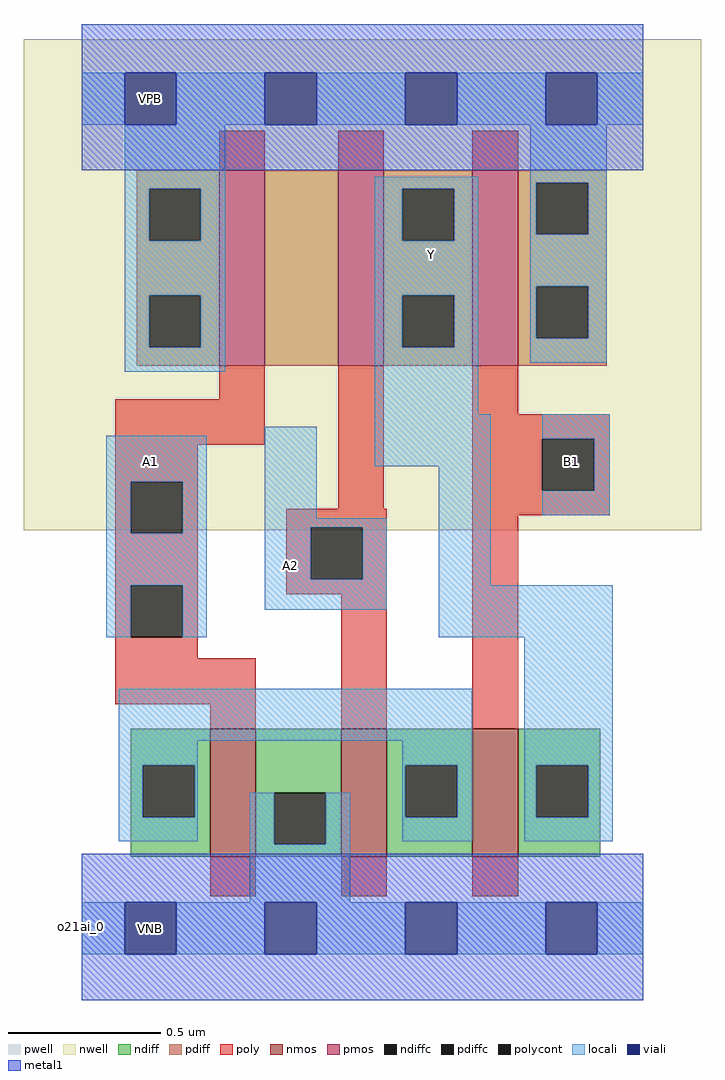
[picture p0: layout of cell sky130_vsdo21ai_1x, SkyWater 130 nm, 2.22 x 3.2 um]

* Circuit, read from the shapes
.subckt sky130_vsdo21ai_1x A1 A2 B1 VGND VNB VPB VPWR Y
XM1 VGND A1 n1 VNB sky130_fd_pr__nfet_01v8 w=0.42 l=0.15
XM2 n1 A2 VGND VNB sky130_fd_pr__nfet_01v8 w=0.42 l=0.15
XM3 Y B1 n1 VNB sky130_fd_pr__nfet_01v8 w=0.42 l=0.15
XM4 n2 A1 VPWR VPB sky130_fd_pr__pfet_01v8 w=0.64 l=0.15
XM5 Y A2 n2 VPB sky130_fd_pr__pfet_01v8 w=0.64 l=0.15
XM6 VPWR B1 Y VPB sky130_fd_pr__pfet_01v8 w=0.64 l=0.15
.ends

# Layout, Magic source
magic
tech sky130A
<< nwell >>
rect -19 130 203 291
<< pwell >>
rect 14 -9 31 8
<< nmos >>
rect 42 23 57 65
rect 85 23 100 65
rect 128 23 143 65
<< pmos >>
rect 45 184 60 248
rect 84 184 99 248
rect 128 184 143 248
<< ndiff >>
rect 16 53 42 65
rect 16 36 20 53
rect 37 36 42 53
rect 16 23 42 36
rect 57 44 85 65
rect 57 27 63 44
rect 80 27 85 44
rect 57 23 85 27
rect 100 53 128 65
rect 100 36 106 53
rect 123 36 128 53
rect 100 23 128 36
rect 143 53 170 65
rect 143 36 149 53
rect 166 36 170 53
rect 143 23 170 36
<< pdiff >>
rect 18 242 45 248
rect 18 225 22 242
rect 39 225 45 242
rect 18 207 45 225
rect 18 190 22 207
rect 39 190 45 207
rect 18 184 45 190
rect 60 184 84 248
rect 99 242 128 248
rect 99 225 105 242
rect 122 225 128 242
rect 99 207 128 225
rect 99 190 105 207
rect 122 190 128 207
rect 99 184 128 190
rect 143 244 172 248
rect 143 227 149 244
rect 166 227 172 244
rect 143 210 172 227
rect 143 193 149 210
rect 166 193 172 210
rect 143 184 172 193
<< ndiffc >>
rect 20 36 37 53
rect 63 27 80 44
rect 106 36 123 53
rect 149 36 166 53
<< pdiffc >>
rect 22 225 39 242
rect 22 190 39 207
rect 105 225 122 242
rect 105 190 122 207
rect 149 227 166 244
rect 149 193 166 210
<< poly >>
rect 45 248 60 261
rect 84 248 99 261
rect 128 248 143 261
rect 45 173 60 184
rect 11 158 60 173
rect 11 146 38 158
rect 11 129 16 146
rect 33 129 38 146
rect 84 137 99 184
rect 128 168 143 184
rect 128 160 173 168
rect 128 143 151 160
rect 168 143 173 160
rect 11 112 38 129
rect 11 95 16 112
rect 33 95 38 112
rect 67 131 100 137
rect 67 114 75 131
rect 92 114 100 131
rect 67 109 100 114
rect 11 88 38 95
rect 11 73 57 88
rect 42 65 57 73
rect 85 65 100 109
rect 128 135 173 143
rect 128 65 143 135
rect 42 10 57 23
rect 85 10 100 23
rect 128 10 143 23
<< polycont >>
rect 16 129 33 146
rect 151 143 168 160
rect 16 95 33 112
rect 75 114 92 131
<< locali >>
rect 0 263 14 280
rect 31 263 60 280
rect 77 263 106 280
rect 123 263 152 280
rect 169 263 184 280
rect 14 242 47 263
rect 14 225 22 242
rect 39 225 47 242
rect 14 207 47 225
rect 14 190 22 207
rect 39 190 47 207
rect 14 182 47 190
rect 96 242 130 246
rect 96 225 105 242
rect 122 225 130 242
rect 96 207 130 225
rect 96 190 105 207
rect 122 190 130 207
rect 96 168 130 190
rect 147 244 172 263
rect 147 227 149 244
rect 166 227 172 244
rect 147 210 172 227
rect 147 193 149 210
rect 166 193 172 210
rect 147 185 172 193
rect 8 146 41 161
rect 8 129 16 146
rect 33 129 41 146
rect 8 112 41 129
rect 8 95 16 112
rect 33 95 41 112
rect 60 134 77 164
rect 96 151 134 168
rect 60 131 100 134
rect 60 114 75 131
rect 92 114 100 131
rect 60 104 100 114
rect 117 112 134 151
rect 151 160 173 168
rect 168 143 173 160
rect 151 135 173 143
rect 117 95 174 112
rect 12 61 128 78
rect 12 53 38 61
rect 12 36 20 53
rect 37 36 38 53
rect 105 53 128 61
rect 12 28 38 36
rect 55 27 63 44
rect 80 27 88 44
rect 105 36 106 53
rect 123 36 128 53
rect 105 28 128 36
rect 145 53 174 95
rect 145 36 149 53
rect 166 36 174 53
rect 145 28 174 36
rect 55 8 88 27
rect 0 -9 14 8
rect 31 -9 60 8
rect 77 -9 106 8
rect 123 -9 152 8
rect 169 -9 184 8
<< viali >>
rect 14 263 31 280
rect 60 263 77 280
rect 106 263 123 280
rect 152 263 169 280
rect 14 -9 31 8
rect 60 -9 77 8
rect 106 -9 123 8
rect 152 -9 169 8
<< metal1 >>
rect 0 280 184 296
rect 0 263 14 280
rect 31 263 60 280
rect 77 263 106 280
rect 123 263 152 280
rect 169 263 184 280
rect 0 248 184 263
rect 0 8 184 24
rect 0 -9 14 8
rect 31 -9 60 8
rect 77 -9 106 8
rect 123 -9 152 8
rect 169 -9 184 8
rect 0 -24 184 -9
<< labels >>
flabel pwell s 14 -9 31 8 0 FreeSans 100 0 0 0 VNB
port 5 nsew ground bidirectional
flabel nwell s 14 263 31 280 0 FreeSans 100 0 0 0 VPB
port 6 nsew power bidirectional
flabel metal1 s 14 -9 31 8 0 FreeSans 100 0 0 0 VGND
port 4 nsew ground bidirectional abutment
flabel metal1 s 14 263 31 280 0 FreeSans 100 0 0 0 VPWR
port 7 nsew power bidirectional abutment
flabel locali s 106 212 123 229 0 FreeSans 170 0 0 0 Y
port 8 nsew signal output
flabel locali s 152 144 169 161 0 FreeSans 170 0 0 0 B1
port 3 nsew signal input
flabel locali s 60 110 77 127 0 FreeSans 170 0 0 0 A2
port 2 nsew signal input
flabel locali s 14 144 31 161 0 FreeSans 170 0 0 0 A1
port 1 nsew signal input
rlabel comment s 0 0 0 0 4 o21ai_0
<< properties >>
string LEFclass CORE
string LEFsite unithd
string FIXED_BBOX 0 0 184 272
string LEFsymmetry X Y R90
string path 0.000 0.000 1.840 0.000 
<< end >>
